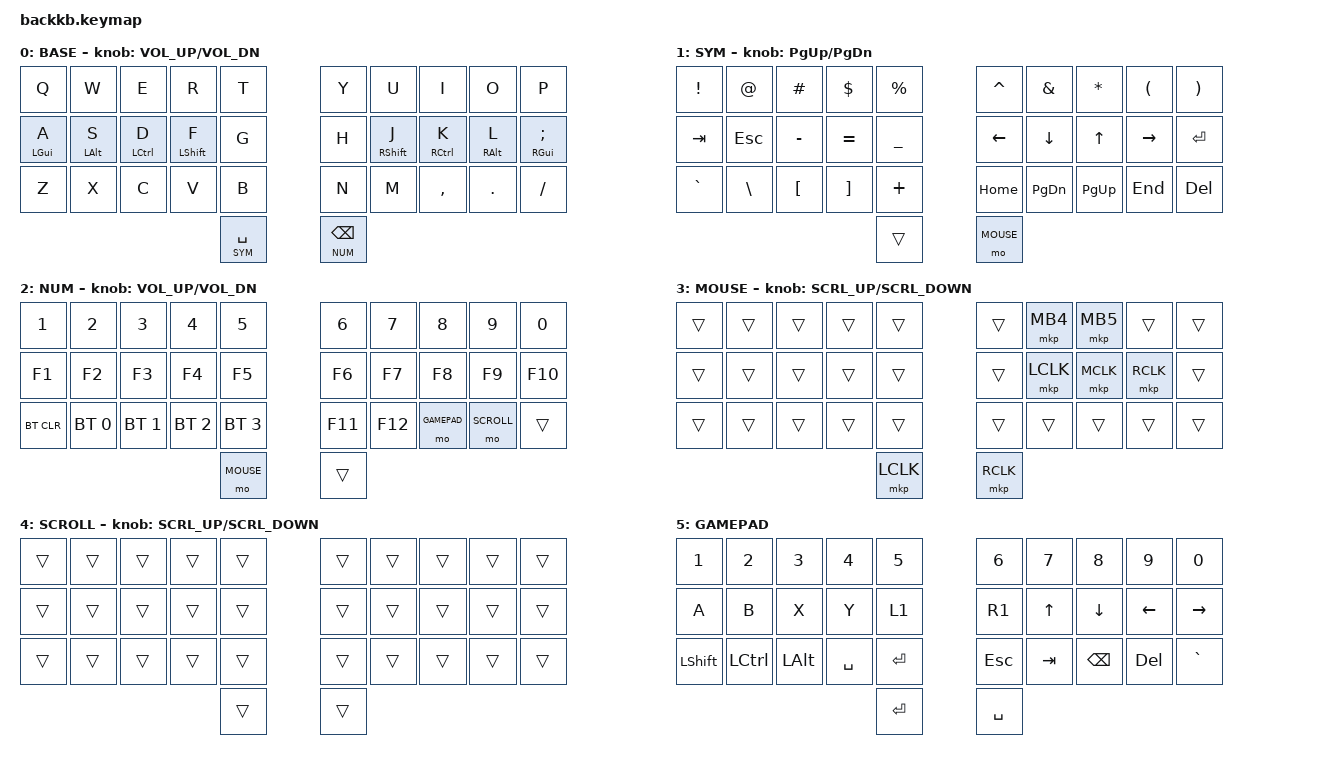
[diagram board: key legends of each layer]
/*
 * ZMK keymap — Back-of-phone split, S24 Ultra
 * 5 cols/hand (index has 2 cols) x 3 rows + 1 thumb = 32 keys.
 * Plus per-side: clickable scroll wheel (encoder) + analog thumbstick.
 *
 * Layers:
 *   0 BASE    letters + homerow mods; thumbs = space/bspc layer-taps
 *   1 SYM     symbols / nav
 *   2 NUM     numbers / function / bluetooth
 *   3 MOUSE   sticks = mouse cursor; wheels = scroll; thumb = click
 *   4 SCROLL  sticks = scroll (both axes); wheels = scroll
 *   5 GAMEPAD sticks = HID joystick axes (via zmk-hid-io); keys = buttons
 *
 * Pointer layers are reached from a small "nav/ptr" cluster. Sticks emit
 * mouse REL_X/REL_Y by default (set in the overlay); the input-processors
 * below remap those to scroll / gamepad when the relevant layer is on.
 */

#include <behaviors.dtsi>
#include <dt-bindings/zmk/keys.h>
#include <dt-bindings/zmk/bt.h>
#include <dt-bindings/zmk/pointing.h>
#include <input/processors.dtsi>
#include <zephyr/dt-bindings/input/input-event-codes.h>

#define BASE    0
#define SYM     1
#define NUM     2
#define MOUSE   3
#define SCROLL  4
#define GAMEPAD 5

/ {
    behaviors {
        hm: homerow_mods {
            compatible = "zmk,behavior-hold-tap";
            #binding-cells = <2>;
            tapping-term-ms = <200>;
            quick-tap-ms = <150>;
            flavor = "tap-preferred";
            bindings = <&kp>, <&kp>;
        };
    };

    /*
     * Input processors gate stick behavior by layer. Attach overrides to
     * the listeners declared in the overlays. Default (no override) =
     * mouse move, since the overlay emits REL_X/REL_Y.
     *
     * KNOWN ISSUE (zmk #2967): on some ZMK revisions the `layers` filter
     * on input-listener children leaks (a scroll mapper can stay active
     * off-layer). If you hit that, pin a ZMK rev past the fix, or drive
     * scroll via a dedicated &msc behavior on the SCROLL layer instead.
     *
     * GAMEPAD mode: zmk-hid-io reads the same REL stream and emits HID
     * joystick axes on its own interface — no input-processor needed here;
     * enabling the GAMEPAD layer + CONFIG_ZMK_HID_IO_JOYSTICK is enough.
     */
    anin_l_listener {
        scroll_l {
            layers = <SCROLL>;
            input-processors = <&zip_xy_to_scroll_mapper>;
        };
    };
    anin_r_listener {
        scroll_r {
            layers = <SCROLL>;
            input-processors = <&zip_xy_to_scroll_mapper>;
        };
    };

    keymap {
        compatible = "zmk,keymap";

        base {
            display-name = "BASE";
            bindings = <
    &kp Q  &kp W  &kp E  &kp R  &kp T      &kp Y  &kp U  &kp I  &kp O  &kp P
 &hm LGUI A &hm LALT S &hm LCTRL D &hm LSHFT F &kp G   &kp H &hm RSHFT J &hm RCTRL K &hm RALT L &hm RGUI SEMI
    &kp Z  &kp X  &kp C  &kp V  &kp B      &kp N  &kp M  &kp COMMA &kp DOT &kp FSLH
            &lt SYM SPACE                  &lt NUM BSPC
            >;
            sensor-bindings = <&inc_dec_kp C_VOL_UP C_VOL_DN>;  // wheels = volume on base
        };

        sym {
            display-name = "SYM";
            bindings = <
    &kp EXCL  &kp AT   &kp HASH  &kp DLLR  &kp PRCNT   &kp CARET &kp AMPS  &kp STAR  &kp LPAR  &kp RPAR
    &kp TAB   &kp ESC  &kp MINUS &kp EQUAL &kp UNDER   &kp LEFT  &kp DOWN  &kp UP    &kp RIGHT &kp RET
    &kp GRAVE &kp BSLH &kp LBKT  &kp RBKT  &kp PLUS    &kp HOME  &kp PG_DN &kp PG_UP &kp END   &kp DEL
            &trans                         &mo MOUSE
            >;
            sensor-bindings = <&inc_dec_kp PG_UP PG_DN>;        // wheels = page scroll
        };

        num {
            display-name = "NUM";
            bindings = <
    &kp N1 &kp N2 &kp N3 &kp N4 &kp N5         &kp N6 &kp N7 &kp N8 &kp N9 &kp N0
    &kp F1 &kp F2 &kp F3 &kp F4 &kp F5         &kp F6 &kp F7 &kp F8 &kp F9 &kp F10
    &bt BT_CLR &bt BT_SEL 0 &bt BT_SEL 1 &bt BT_SEL 2 &bt BT_SEL 3   &kp F11 &kp F12 &mo GAMEPAD &mo SCROLL &trans
            &mo MOUSE                          &trans
            >;
            sensor-bindings = <&inc_dec_kp C_VOL_UP C_VOL_DN>;
        };

        mouse {
            display-name = "MOUSE";
            // sticks = cursor (default REL from overlay). keys = clicks/btns
            bindings = <
    &trans &trans &trans &trans &trans       &trans &mkp MB4 &mkp MB5 &trans &trans
    &trans &trans &trans &trans &trans       &trans &mkp LCLK &mkp MCLK &mkp RCLK &trans
    &trans &trans &trans &trans &trans       &trans &trans &trans &trans &trans
            &mkp LCLK                         &mkp RCLK
            >;
            sensor-bindings = <&inc_dec_kp SCRL_UP SCRL_DOWN>;  // wheels = mouse scroll
        };

        scroll {
            display-name = "SCROLL";
            // sticks remapped to scroll by input-processor above
            bindings = <
    &trans &trans &trans &trans &trans       &trans &trans &trans &trans &trans
    &trans &trans &trans &trans &trans       &trans &trans &trans &trans &trans
    &trans &trans &trans &trans &trans       &trans &trans &trans &trans &trans
            &trans                            &trans
            >;
            sensor-bindings = <&inc_dec_kp SCRL_UP SCRL_DOWN>;
        };

        gamepad {
            display-name = "GAMEPAD";
            // sticks = HID joystick axes via zmk-hid-io.
            // keys become face/shoulder buttons (map as you like).
            bindings = <
    &kp N1 &kp N2 &kp N3 &kp N4 &kp N5       &kp N6 &kp N7 &kp N8 &kp N9 &kp N0
    &kp A  &kp B  &kp X  &kp Y  &kp L1       &kp R1 &kp UP &kp DOWN &kp LEFT &kp RIGHT
    &kp LSHFT &kp LCTRL &kp LALT &kp SPACE &kp ENTER   &kp ESC &kp TAB &kp BSPC &kp DEL &kp GRAVE
            &kp RET                            &kp SPACE
            >;
        };
    };
};
